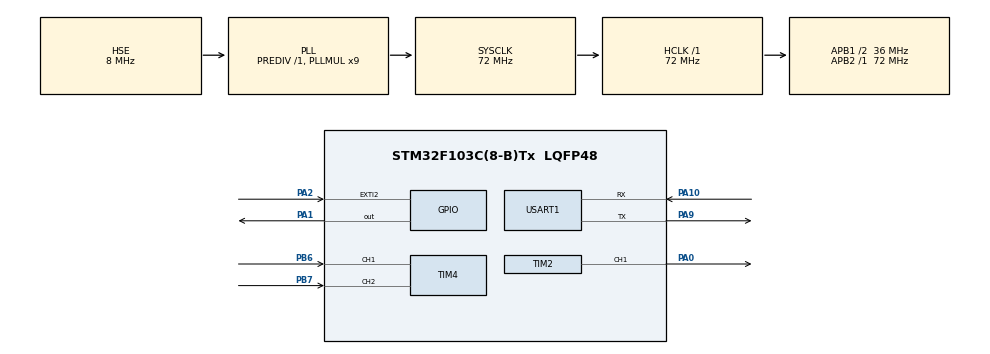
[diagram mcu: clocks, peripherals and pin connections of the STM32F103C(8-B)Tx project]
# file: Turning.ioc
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Mcu.Family=STM32F1
Mcu.Name=STM32F103C(8-B)Tx
Mcu.Package=LQFP48
NVIC.EXTI2_IRQn=true\:0\:0\:false\:false\:true\:true\:true\:true
NVIC.PriorityGroup=NVIC_PRIORITYGROUP_4
NVIC.TIM3_IRQn=true\:2\:0\:true\:false\:true\:true\:true\:true
NVIC.USART1_IRQn=true\:1\:0\:true\:false\:true\:true\:true\:true
PA0-WKUP.Signal=S_TIM2_CH1_ETR
PA1.GPIO_PuPd=GPIO_NOPULL
PA1.PinState=GPIO_PIN_RESET
PA1.Signal=GPIO_Output
PA10.Mode=Asynchronous
PA10.Signal=USART1_RX
PA13.Mode=Serial_Wire
PA13.Signal=SYS_JTMS-SWDIO
PA14.Mode=Serial_Wire
PA14.Signal=SYS_JTCK-SWCLK
PA2.GPIO_ModeDefaultEXTI=GPIO_MODE_IT_RISING
PA2.Signal=GPXTI2
PA9.Mode=Asynchronous
PA9.Signal=USART1_TX
PB6.Signal=S_TIM4_CH1
PB7.Signal=S_TIM4_CH2
PD0-OSC_IN.Mode=HSE-External-Oscillator
PD0-OSC_IN.Signal=RCC_OSC_IN
PD1-OSC_OUT.Mode=HSE-External-Oscillator
PD1-OSC_OUT.Signal=RCC_OSC_OUT
ProjectManager.HeapSize=0x200
ProjectManager.StackSize=0x400
ProjectManager.TargetToolchain=STM32CubeIDE
RCC.AHBFreq_Value=72000000
RCC.APB1CLKDivider=RCC_HCLK_DIV2
RCC.APB1Freq_Value=36000000
RCC.APB1TimFreq_Value=72000000
RCC.APB2Freq_Value=72000000
RCC.APB2TimFreq_Value=72000000
RCC.HCLKFreq_Value=72000000
RCC.PLLMUL=RCC_PLL_MUL9
RCC.PLLSourceVirtual=RCC_PLLSOURCE_HSE
RCC.SYSCLKFreq_VALUE=72000000
RCC.SYSCLKSource=RCC_SYSCLKSOURCE_PLLCLK
RCC.USBFreq_Value=72000000
SH.S_TIM2_CH1_ETR.0=TIM2_CH1,PWM Generation1 CH1
SH.S_TIM4_CH1.0=TIM4_CH1,Encoder_Interface
SH.S_TIM4_CH2.0=TIM4_CH2,Encoder_Interface
TIM2.Channel-PWM\ Generation1\ CH1=TIM_CHANNEL_1
TIM2.CounterMode=TIM_COUNTERMODE_CENTERALIGNED3
TIM2.Period=7199
TIM2.Prescaler=9
TIM3.Period=99
TIM3.Prescaler=7199
TIM4.CounterMode=TIM_COUNTERMODE_UP
TIM4.EncoderMode=TIM_ENCODERMODE_TI12
USART1.VirtualMode=VM_ASYNC
VP_TIM3_VS_ClockSourceINT.Mode=Internal
board=custom

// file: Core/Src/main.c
/* USER CODE BEGIN Header */
/**
  ******************************************************************************
  * @file           : main.c
  * @brief          : Main program body
  ******************************************************************************
  * @attention
  *
  * Copyright (c) 2023 STMicroelectronics.
  * All rights reserved.
  *
  * This software is licensed under terms that can be found in the LICENSE file
  * in the root directory of this software component.
  * If no LICENSE file comes with this software, it is provided AS-IS.
  *
  ******************************************************************************
  */
/* USER CODE END Header */
#include "main.h"
#include "tim.h"
#include "usart.h"
#include "gpio.h"

/* USER CODE BEGIN Includes */
#include "motor.h"
#include "pid.h"
#include "stdio.h"
#include "serial.h"
#include "string.h"
/* USER CODE END Includes */

void SystemClock_Config(void);

/* USER CODE BEGIN 0 */
Motor_t motor;
PID_CONTROL_t pid;
PROCESS_t process;
uint8_t buf[8];
uint8_t buff[];

extern uint8_t g_nRxBuff[MAX_LEN];
extern uint8_t g_strCommand[4];
extern uint8_t g_kp[4];
extern uint8_t g_ki[4];
extern uint8_t g_kd[4];
extern uint8_t g_Setpoint[4];
extern bool g_bDataAvailable;

/* USER CODE END 0 */

int main(void)
{

  /* MCU Configuration--------------------------------------------------------*/

  /* Reset of all peripherals, Initializes the Flash interface and the Systick. */
  HAL_Init();

  /* Configure the system clock */
  SystemClock_Config();

  /* Initialize all configured peripherals */
  MX_GPIO_Init();
  MX_TIM4_Init();
  MX_TIM3_Init();
  MX_TIM2_Init();
  MX_USART1_UART_Init();
  /* USER CODE BEGIN 2 */

// cho vao motor init
  HAL_TIM_Encoder_Start(&htim4, TIM_CHANNEL_1);
  HAL_TIM_Encoder_Start(&htim4, TIM_CHANNEL_2);
  HAL_TIM_Base_Start_IT(&htim3);
  HAL_TIM_PWM_Start(&htim2, TIM_CHANNEL_1);

  SerialInit();

  /* USER CODE END 2 */

  /* Infinite loop */
  while (1)
  {

    /* USER CODE BEGIN 3 */
	  if(g_bDataAvailable == true)
		  	      {
		  	        if(StrCompare(g_strCommand, (uint8_t*)"SPID", 4))
		  	        {
		  	          process = SPID;
		  	        }
		  	        else if(StrCompare(g_strCommand, (uint8_t*)"VTUN", 4))
		  	        {
		  	          process = VTUN;
		  	        }
		  	        else if(StrCompare(g_strCommand, (uint8_t*)"PTUN", 4))
		  	        {
		  	          process = PTUN;
		  	        }
		  	      else if(StrCompare(g_strCommand, (uint8_t*)"STOP", 4))
		  	       {
		  	      	 process = STOP;
		  	       }
		  	        else
		  	        {
		  	          process = NONE;
		  	        }
		  	        g_bDataAvailable = false;
		  	      }
	  switch(process)
	 	  	      {
	 	  	        case NONE:
	 	  	          SerialAcceptReceive();
	 	  	          MotorSetDuty(0);
	 	  	          HAL_GPIO_WritePin(GPIOA, GPIO_PIN_1, 0);

	 	  	          break;
	 	  	        case SPID:
	 	  	        	PIDReset(&pid);

	 	  	        	//get parameter
	 	  	        	pid.dKp=(*(float*)g_kp);
	 	  	        	pid.dKi=(*(float*)g_ki);
	 	  	        	pid.dKd=(*(float*)g_kd);

	 	  	        	motor.setPoint=(*(float*)g_Setpoint);
	 	  	        	PIDReset(&pid);
	 	  	        	process= NONE;
	 	  	          break;
	 	  	        case VTUN:

	 	  	        	break;
	 	  	        case PTUN:
	 	  	        	break;
	 	  	        case STOP:
	 	  	        						  PIDReset(&pid);
	 	  	        						  HAL_GPIO_WritePin(GPIOA, GPIO_PIN_1, 0);
	 	  	        						  MotorSetDuty(0);
	 	  	        						  //cho vào reset motor
	 	  	        						  MotorReset(&motor);
	 	  	        		 	  	          htim4.Instance->CNT=0;
	 	  	        	break;
	 	  	        case BUTT:
	 	  	        	MotorSetDuty(1000);
	 	  	        	break;
	 	  	         SerialAcceptReceive();
	 	  	      }

  }
  /* USER CODE END 3 */
}

void SystemClock_Config(void)
{
  RCC_OscInitTypeDef RCC_OscInitStruct = {0};
  RCC_ClkInitTypeDef RCC_ClkInitStruct = {0};

  /** Initializes the RCC Oscillators according to the specified parameters
  * in the RCC_OscInitTypeDef structure.
  */
  RCC_OscInitStruct.OscillatorType = RCC_OSCILLATORTYPE_HSE;
  RCC_OscInitStruct.HSEState = RCC_HSE_ON;
  RCC_OscInitStruct.HSEPredivValue = RCC_HSE_PREDIV_DIV1;
  RCC_OscInitStruct.HSIState = RCC_HSI_ON;
  RCC_OscInitStruct.PLL.PLLState = RCC_PLL_ON;
  RCC_OscInitStruct.PLL.PLLSource = RCC_PLLSOURCE_HSE;
  RCC_OscInitStruct.PLL.PLLMUL = RCC_PLL_MUL9;
  if (HAL_RCC_OscConfig(&RCC_OscInitStruct) != HAL_OK)
  {
    Error_Handler();
  }

  /** Initializes the CPU, AHB and APB buses clocks
  */
  RCC_ClkInitStruct.ClockType = RCC_CLOCKTYPE_HCLK|RCC_CLOCKTYPE_SYSCLK
                              |RCC_CLOCKTYPE_PCLK1|RCC_CLOCKTYPE_PCLK2;
  RCC_ClkInitStruct.SYSCLKSource = RCC_SYSCLKSOURCE_PLLCLK;
  RCC_ClkInitStruct.AHBCLKDivider = RCC_SYSCLK_DIV1;
  RCC_ClkInitStruct.APB1CLKDivider = RCC_HCLK_DIV2;
  RCC_ClkInitStruct.APB2CLKDivider = RCC_HCLK_DIV1;

  if (HAL_RCC_ClockConfig(&RCC_ClkInitStruct, FLASH_LATENCY_2) != HAL_OK)
  {
    Error_Handler();
  }
}

/* USER CODE BEGIN 4 */

void HAL_TIM_PeriodElapsedCallback(TIM_HandleTypeDef *htim)
{

	  if(htim->Instance == htim3.Instance)
	  {

		  switch(process)
		  	 	  	      {
		  	 	  	        case NONE:
		  	 	  	       ReadEncoder(&motor);

		  	 	  	          break;

		  	 	  	        case SPID:
		  	 	  	          break;

		  	 	  	        case VTUN:

		  	 	  	       ReadEncoder(&motor);
		  	 	  	       MotorTuningVelocity(&pid, &motor, motor.setPoint);
		  	 	  	       sprintf(buff,"%d.", (int) motor.velocity );
		  	 	  	       HAL_UART_Transmit(&huart1,buff,sizeof((char*)buff),1000);

		  	 	  	        	break;

		  	 	  	        case PTUN:
		  	 	  	       ReadEncoder(&motor);
		  	 	  	       MotorTuningPosition(&pid, &motor, motor.setPoint);
		  	 	  	       sprintf(buf,"%d.", (int) motor.position );
		  	 	  	       HAL_UART_Transmit(&huart1,buf,8,1000);
		  	 	  	       break;

		  	 	  	        case STOP:
		  	 	  	        	break;
		  	 	  	        case BUTT:
		  	 	  	        	ReadEncoder(&motor);
		  	 	  	        	break;

		  	 	  	      }

	  }

	  }

void HAL_GPIO_EXTI_Callback(uint16_t GPIO_Pin)
{
	if(GPIO_Pin==GPIO_PIN_2)
	{
			process=BUTT;
	}

}

/* USER CODE END 4 */

void Error_Handler(void)
{
  __disable_irq();
  while (1)
  {
  }
}
